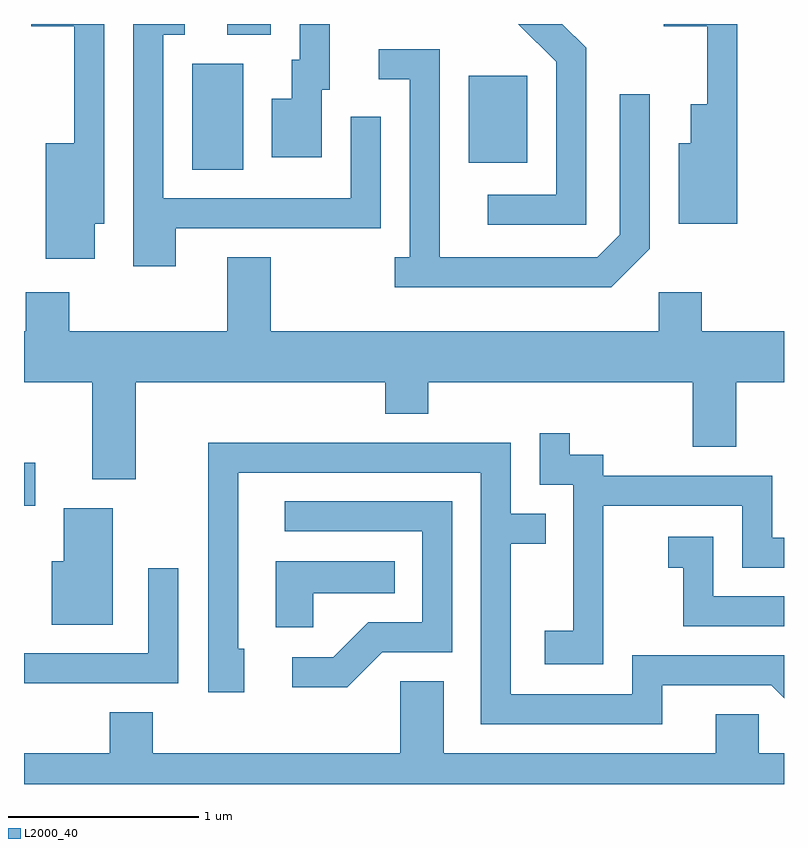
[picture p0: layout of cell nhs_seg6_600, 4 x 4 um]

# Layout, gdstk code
import gdstk
lib = gdstk.Library(unit=1e-6, precision=1e-09)
def R(c, l, rs):  # rectangles x0, y0, x1, y1
    for r in rs: c.add(gdstk.rectangle(r[:2], r[2:], *l))
def P(c, l, *ps):  # polygons
    for p in ps: c.add(gdstk.Polygon(p, *l))
L2000_40 = (2000, 40)

nhs_seg6_600 = lib.new_cell('nhs_seg6_600')
R(nhs_seg6_600, L2000_40, [(203.611,1531.626,203.669,1531.854), (204.496,1533.396,204.764,1533.954), (205.951,1533.431,206.259,1533.889), (204.681,1534.106,204.909,1534.162)])
P(nhs_seg6_600, L2000_40, [(205.179,1533.816),(205.219,1533.816),(205.219,1534.162),(205.061,1534.162),(205.061,1533.974),(205.021,1533.974),(205.021,1533.769),(204.916,1533.769),(204.916,1533.461),(205.179,1533.461)],
  [(206.569,1534.037),(206.444,1534.162),(206.213,1534.162),(206.411,1533.964),(206.411,1533.264),(206.053,1533.264),(206.053,1533.106),(206.569,1533.106)],
  [(207.364,1534.162),(206.978,1534.162),(206.978,1534.151),(207.206,1534.151),(207.206,1533.739),(207.121,1533.739),(207.121,1533.534),(207.056,1533.534),(207.056,1533.111),(207.364,1533.111)],
  [(203.984,1533.111),(204.034,1533.111),(204.034,1534.162),(203.648,1534.162),(203.648,1534.151),(203.876,1534.151),(203.876,1533.534),(203.726,1533.534),(203.726,1532.926),(203.984,1532.926)],
  [(204.409,1533.086),(205.489,1533.086),(205.489,1533.673),(205.331,1533.673),(205.331,1533.244),(204.344,1533.244),(204.344,1534.106),(204.458,1534.106),(204.458,1534.162),(204.186,1534.162),(204.186,1532.886),(204.409,1532.886)],
  [(206.904,1532.979),(206.904,1533.793),(206.746,1533.793),(206.746,1533.052),(206.629,1532.934),(205.799,1532.934),(205.799,1534.029),(205.478,1534.029),(205.478,1533.871),(205.641,1533.871),(205.641,1532.934),(205.563,1532.934),(205.563,1532.776),(206.702,1532.776)],
  [(204.199,1532.276),(205.511,1532.276),(205.511,1532.111),(205.739,1532.111),(205.739,1532.276),(207.131,1532.276),(207.131,1531.936),(207.359,1531.936),(207.359,1532.276),(207.611,1532.276),(207.611,1532.544),(207.179,1532.544),(207.179,1532.749),(206.951,1532.749),(206.951,1532.544),(204.909,1532.544),(204.909,1532.934),(204.681,1532.934),(204.681,1532.544),(203.849,1532.544),(203.849,1532.749),(203.621,1532.749),(203.621,1532.544),(203.611,1532.544),(203.611,1532.276),(203.971,1532.276),(203.971,1531.766),(204.199,1531.766)],
  [(206.659,1531.626),(207.391,1531.626),(207.391,1531.301),(207.611,1531.301),(207.611,1531.459),(207.549,1531.459),(207.549,1531.784),(206.659,1531.784),(206.659,1531.894),(206.484,1531.894),(206.484,1532.008),(206.326,1532.008),(206.326,1531.736),(206.501,1531.736),(206.501,1530.969),(206.351,1530.969),(206.351,1530.791),(206.659,1530.791)],
  [(206.969,1530.681),(207.544,1530.681),(207.611,1530.614),(207.611,1530.839),(206.811,1530.839),(206.811,1530.634),(206.174,1530.634),(206.174,1531.426),(206.358,1531.426),(206.358,1531.584),(206.174,1531.584),(206.174,1531.959),(204.581,1531.959),(204.581,1530.646),(204.769,1530.646),(204.769,1530.874),(204.739,1530.874),(204.739,1531.801),(206.016,1531.801),(206.016,1530.476),(206.969,1530.476)],
  [(205.497,1530.856),(205.864,1530.856),(205.864,1531.649),(204.983,1531.649),(204.983,1531.491),(205.706,1531.491),(205.706,1531.014),(205.424,1531.014),(205.239,1530.829),(205.023,1530.829),(205.023,1530.671),(205.312,1530.671)],
  [(204.079,1531.614),(203.821,1531.614),(203.821,1531.334),(203.756,1531.334),(203.756,1531.001),(204.079,1531.001)],
  [(207.611,1531.149),(207.239,1531.149),(207.239,1531.464),(207.003,1531.464),(207.003,1531.301),(207.081,1531.301),(207.081,1530.991),(207.611,1530.991)],
  [(205.134,1531.166),(205.563,1531.166),(205.563,1531.334),(204.936,1531.334),(204.936,1530.986),(205.134,1530.986)],
  [(204.424,1531.298),(204.266,1531.298),(204.266,1530.849),(203.611,1530.849),(203.611,1530.691),(204.424,1530.691)],
  [(207.611,1530.324),(207.479,1530.324),(207.479,1530.529),(207.251,1530.529),(207.251,1530.324),(205.819,1530.324),(205.819,1530.704),(205.591,1530.704),(205.591,1530.324),(204.289,1530.324),(204.289,1530.539),(204.061,1530.539),(204.061,1530.324),(203.611,1530.324),(203.611,1530.162),(207.611,1530.162)])

lib.write_gds('nhs_seg6_600.gds')
